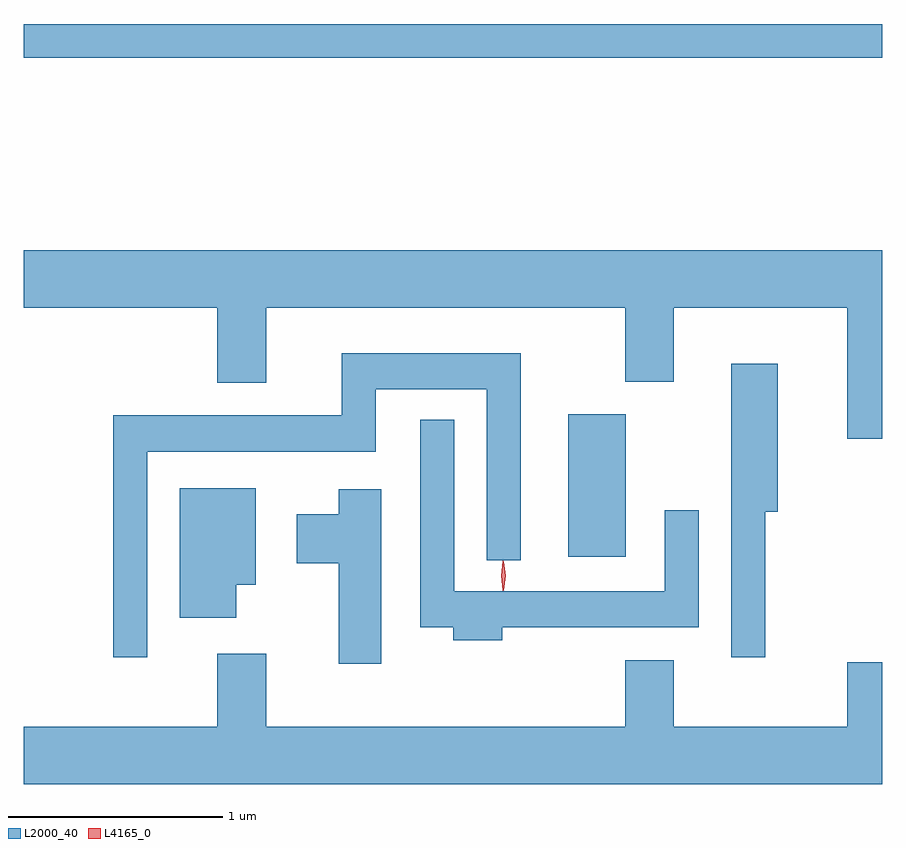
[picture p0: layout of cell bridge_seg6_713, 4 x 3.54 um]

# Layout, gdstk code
import gdstk
lib = gdstk.Library(unit=1e-6, precision=1e-09)
def R(c, l, rs):  # rectangles x0, y0, x1, y1
    for r in rs: c.add(gdstk.rectangle(r[:2], r[2:], *l))
def P(c, l, *ps):  # polygons
    for p in ps: c.add(gdstk.Polygon(p, *l))
L2000_40 = (2000, 40)
L4165_0 = (4165, 0)

bridge_seg6_713 = lib.new_cell('bridge_seg6_713')
R(bridge_seg6_713, L2000_40, [(493.496,1548.876,493.764,1549.539), (490.959,1551.201,494.959,1551.359)])
P(bridge_seg6_713, L2000_40, [(494.959,1550.304),(490.959,1550.304),(490.959,1550.036),(491.861,1550.036),(491.861,1549.686),(492.089,1549.686),(492.089,1550.036),(493.761,1550.036),(493.761,1549.691),(493.989,1549.691),(493.989,1550.036),(494.796,1550.036),(494.796,1549.426),(494.959,1549.426)],
  [(491.534,1549.366),(492.599,1549.366),(492.599,1549.656),(493.116,1549.656),(493.116,1548.858),(493.274,1548.858),(493.274,1549.824),(492.441,1549.824),(492.441,1549.534),(491.376,1549.534),(491.376,1548.408),(491.534,1548.408)],
  [(494.414,1549.086),(494.474,1549.086),(494.474,1549.774),(494.256,1549.774),(494.256,1548.408),(494.414,1548.408)],
  [(493.189,1548.546),(494.104,1548.546),(494.104,1549.093),(493.946,1549.093),(493.946,1548.714),(492.964,1548.714),(492.964,1549.513),(492.806,1549.513),(492.806,1548.546),(492.961,1548.546),(492.961,1548.486),(493.189,1548.486)],
  [(491.949,1548.746),(492.039,1548.746),(492.039,1549.194),(491.686,1549.194),(491.686,1548.591),(491.949,1548.591)],
  [(492.624,1549.189),(492.426,1549.189),(492.426,1549.074),(492.231,1549.074),(492.231,1548.846),(492.426,1548.846),(492.426,1548.376),(492.624,1548.376)],
  [(494.959,1548.384),(494.796,1548.384),(494.796,1548.084),(493.989,1548.084),(493.989,1548.394),(493.761,1548.394),(493.761,1548.084),(492.089,1548.084),(492.089,1548.424),(491.861,1548.424),(491.861,1548.084),(490.959,1548.084),(490.959,1547.816),(494.959,1547.816)])
P(bridge_seg6_713, L4165_0, [(493.192,1548.717),(493.183,1548.787),(493.192,1548.856),(493.193,1548.856),(493.194,1548.856),(493.203,1548.787),(493.194,1548.717),(493.193,1548.717)],
  [(493.196,1548.719),(493.195,1548.72),(493.185,1548.786),(493.195,1548.852),(493.196,1548.853),(493.196,1548.852),(493.206,1548.786),(493.196,1548.72)])

lib.write_gds('bridge_seg6_713.gds')
